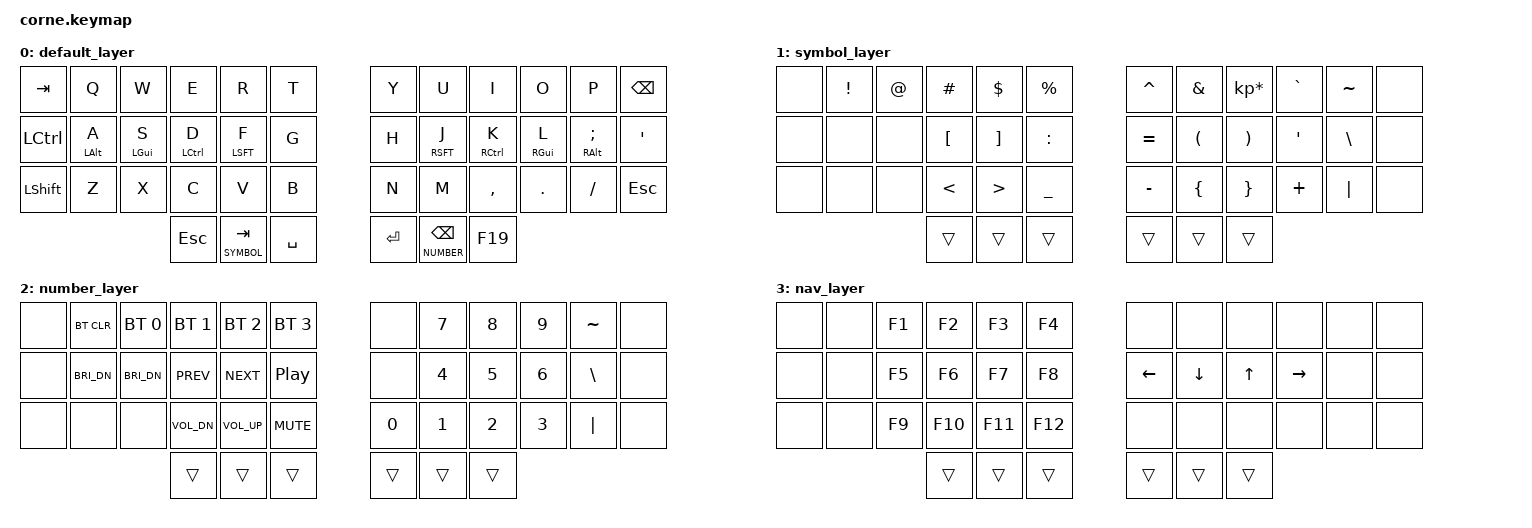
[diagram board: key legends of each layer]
/*
 * Copyright (c) 2020 The ZMK Contributors
 *
 * SPDX-License-Identifier: MIT
 */

#include <behaviors.dtsi>
#include <dt-bindings/zmk/keys.h>
#include <dt-bindings/zmk/bt.h>

#define DEFAULT 0
#define SYMBOL  1
#define NUMBER  2
#define NAV     3

#define LEFT_KEYS 0 1 2 3 4 5 12 13 14 15 16 17 24 25 26 27 28 29
#define RIGHT_KEYS 6 7 8 9 10 11 18 19 20 21 22 23 30 31 32 33 34 35

/ {
    conditional_layers {
        compatible = "zmk,conditional-layers";
        tri_layer {
            if-layers = <1 2>;
            then-layer = <3>;
        };
    };
};

/ {
    behaviors {
        ht_bl: hold_tap_balanced {
            compatible = "zmk,behavior-hold-tap";
            label = "HOLD_TAP_BALANCED";
            #binding-cells = <2>;
            flavor = "balanced";
            tapping-term-ms = <200>;
            quick-tap-ms = <0>;
            bindings = <&kp>, <&kp>;
        };

        hrm_s: left_homerow_mods {
            compatible = "zmk,behavior-hold-tap";
            #binding-cells = <2>;
            flavor = "tap-preferred";
            tapping-term-ms = <150>;
            quick-tap-ms = <200>;
            bindings = <&kp>, <&kp>;
        };

        hrm_l: right_homerow_mods {
            compatible = "zmk,behavior-hold-tap";
            #binding-cells = <2>;
            flavor = "tap-preferred";
            tapping-term-ms = <220>;
            quick-tap-ms = <260>;
            bindings = <&kp>, <&kp>;
        };
        
        mo_kp: momentary_layer_or_kp {
            compatible = "zmk,behavior-hold-tap";
            #binding-cells = <2>;
            flavor = "tap-preferred";
            tapping-term-ms = <150>;
            quick-tap-ms = <200>;
            bindings = <&mo>, <&kp>;
        };
    };

        keymap {
                compatible = "zmk,keymap";

                default_layer {
// -----------------------------------------------------------------------------------------
// |  TAB |  Q  |  W  |  E  |  R  |  T  |   |  Y  |  U   |  I  |  O  |  P  | BKSP |
// | CTRL |  A  |  S  |  D  |  F  |  G  |   |  H  |  J   |  K  |  L  |  ;  |  '   |
// | SHFT |  Z  |  X  |  C  |  V  |  B  |   |  N  |  M   |  ,  |  .  |  /  | ESC  |
//                    | GUI | LWR | SPC |   | ENT | RSE  | ALT |
                        bindings = <
   &kp TAB   &kp Q &kp W &kp E &kp R &kp T   &kp Y &kp U  &kp I     &kp O   &kp P    &kp BSPC
   &kp LCTRL &hrm_l LALT A &hrm_l LGUI S &hrm_s LCTL D &hrm_s LSFT F &kp G   &kp H &hrm_s RSFT J  &hrm_s RCTL K &hrm_l RGUI L   &hrm_l RALT SEMI &kp SQT
   &kp LSHFT &kp Z &kp X &kp C &kp V &kp B   &kp N &kp M  &kp COMMA &kp DOT &kp FSLH &kp ESC
   &kp ESC &lt SYMBOL TAB &kp SPACE &kp RET &mo_kp NUMBER BSPC &kp F19
                        >;
                };

                symbol_layer {
// -----------------------------------------------------------------------------------------
// | none |  !  |  @  |  #  |  $  |  %  |   |  ^  |  &  |  *  |  `  |  ~  | none |
// | none |     |     |  [  |  ]  |  :  |   |  =  |  (  |  )  |  '  |  \  | none |
// | none |     |     |  <  |  >  |  _  |   |  -  |  {  |  }  |  +  | "|" | none |

                        bindings = <
   &none &kp EXCL &kp AT &kp HASH &kp DLLR &kp PRCNT   &kp CARET &kp AMPS &kp KP_MULTIPLY &kp GRAVE &kp TILDE &none
   &none &none    &none  &kp LBKT &kp RBKT &kp COLON   &kp EQUAL &kp LPAR &kp RPAR        &kp SQT   &kp BSLH  &none
   &none &none    &none  &kp LT   &kp GT   &kp UNDER   &kp MINUS &kp LBRC &kp RBRC        &kp PLUS  &kp PIPE  &none
                    	    &trans   &trans   &trans      &trans   &trans    &trans
                        >;
                };
                number_layer {
// -----------------------------------------------------------------------------------------
// | none |BTCLR| BT1 | BT2 | BT3 | BT4 |   |     |  7  |  8  |  9  |     | none |
// | none |BRIDN|BRIUP|PREV |NEXT |PLAY |   |     |  4  |  5  |  6  |     | none |
// | none |     |     |VPLDN|VOLUP|MUTE |   |  0  |  1  |  2  |  3  |     | none |

                        bindings = <
   &none &bt BT_CLR   &bt BT_SEL 0 &bt BT_SEL 1 &bt BT_SEL 2 &bt BT_SEL 3     &none  &kp N7 &kp N8 &kp N9 &kp TILDE &none
   &none &kp C_BRI_DN &kp C_BRI_DN &kp C_PREV   &kp C_NEXT   &kp C_PLAY_PAUSE &none  &kp N4 &kp N5 &kp N6 &kp BSLH  &none
   &none &none        &none        &kp C_VOL_DN &kp C_VOL_UP &kp K_MUTE       &kp N0 &kp N1 &kp N2 &kp N3 &kp PIPE  &none
                    	    &trans   &trans   &trans      &trans   &trans    &trans
                        >;
                };
                nav_layer {
// -----------------------------------------------------------------------------------------
// | none |     | F1  | F2  | F3  | F4  |   |     |     |     |     |     | none |
// | none |     | F5  | F6  | F7  | F8  |   |LEFT |DOWN | UP  |RIGHT|     | none |
// | none |     | F9  | F10 | F11 | F12 |   |     |     |     |     |     | none |

                        bindings = <
   &none &none &kp F1 &kp F2  &kp F3  &kp F4    &none  &none &none &none &none &none
   &none &none &kp F5 &kp F6  &kp F7  &kp F8    &kp LEFT &kp DOWN &kp UP &kp RIGHT &none &none
   &none &none &kp F9 &kp F10 &kp F11 &kp F12   &none &none &none &none &none &none
                    	    &trans   &trans   &trans      &trans   &trans    &trans
                        >;
                };
        };
};
